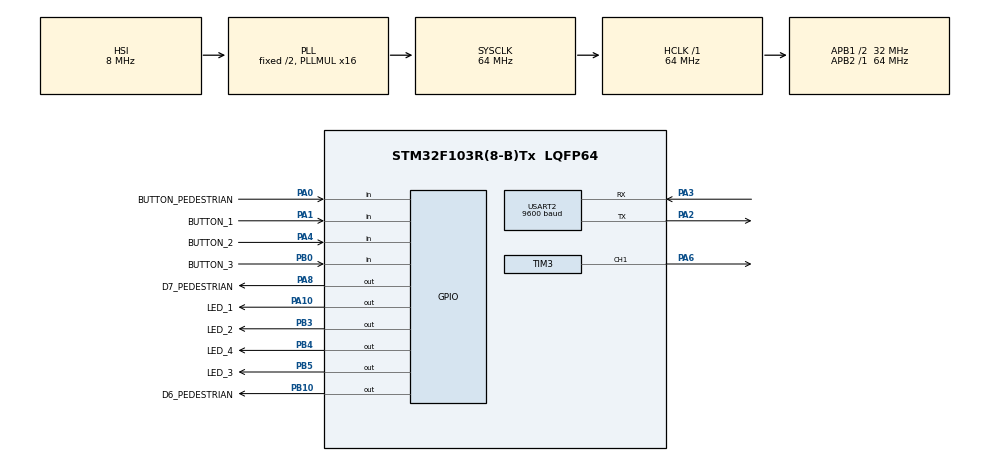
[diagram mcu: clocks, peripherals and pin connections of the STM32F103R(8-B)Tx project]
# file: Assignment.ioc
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Mcu.Family=STM32F1
Mcu.Name=STM32F103R(8-B)Tx
Mcu.Package=LQFP64
NVIC.PriorityGroup=NVIC_PRIORITYGROUP_4
NVIC.TIM2_IRQn=true\:0\:0\:false\:false\:true\:true\:true
NVIC.USART2_IRQn=true\:0\:0\:false\:false\:true\:true\:true
PA0-WKUP.GPIO_Label=BUTTON_PEDESTRIAN
PA0-WKUP.GPIO_PuPd=GPIO_PULLUP
PA0-WKUP.Signal=GPIO_Input
PA1.GPIO_Label=BUTTON_1
PA1.GPIO_PuPd=GPIO_PULLUP
PA1.Signal=GPIO_Input
PA10.GPIO_Label=LED_1
PA10.Signal=GPIO_Output
PA13.Mode=Serial_Wire
PA13.Signal=SYS_JTMS-SWDIO
PA14.Mode=Serial_Wire
PA14.Signal=SYS_JTCK-SWCLK
PA2.Mode=Asynchronous
PA2.Signal=USART2_TX
PA3.Mode=Asynchronous
PA3.Signal=USART2_RX
PA4.GPIO_Label=BUTTON_2
PA4.GPIO_PuPd=GPIO_PULLUP
PA4.Signal=GPIO_Input
PA6.Signal=S_TIM3_CH1
PA8.GPIO_Label=D7_PEDESTRIAN
PA8.Signal=GPIO_Output
PB0.GPIO_Label=BUTTON_3
PB0.GPIO_PuPd=GPIO_PULLUP
PB0.Signal=GPIO_Input
PB10.GPIO_Label=D6_PEDESTRIAN
PB10.GPIO_PuPd=GPIO_NOPULL
PB10.Signal=GPIO_Output
PB3.GPIO_Label=LED_2
PB3.Signal=GPIO_Output
PB4.GPIO_Label=LED_4
PB4.Signal=GPIO_Output
PB5.GPIO_Label=LED_3
PB5.Signal=GPIO_Output
ProjectManager.HeapSize=0x200
ProjectManager.StackSize=0x400
ProjectManager.TargetToolchain=STM32CubeIDE
RCC.AHBFreq_Value=64000000
RCC.APB1CLKDivider=RCC_HCLK_DIV2
RCC.APB1Freq_Value=32000000
RCC.APB1TimFreq_Value=64000000
RCC.APB2Freq_Value=64000000
RCC.APB2TimFreq_Value=64000000
RCC.HCLKFreq_Value=64000000
RCC.PLLMUL=RCC_PLL_MUL16
RCC.SYSCLKFreq_VALUE=64000000
RCC.SYSCLKSource=RCC_SYSCLKSOURCE_PLLCLK
RCC.USBFreq_Value=64000000
SH.S_TIM3_CH1.0=TIM3_CH1,PWM Generation1 CH1
TIM2.Period=79
TIM2.Prescaler=7999
TIM3.Channel-PWM\ Generation1\ CH1=TIM_CHANNEL_1
TIM3.Period=79
TIM3.Prescaler=79
USART2.BaudRate=9600
USART2.VirtualMode=VM_ASYNC
VP_TIM2_VS_ClockSourceINT.Mode=Internal
VP_TIM3_VS_ClockSourceINT.Mode=Internal
board=custom

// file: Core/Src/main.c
/* USER CODE BEGIN Header */
/**
  ******************************************************************************
  * @file           : main.c
  * @brief          : Main program body
  ******************************************************************************
  * @attention
  *
  * <h2><center>&copy; Copyright (c) 2023 STMicroelectronics.
  * All rights reserved.</center></h2>
  *
  * This software component is licensed by ST under BSD 3-Clause license,
  * the "License"; You may not use this file except in compliance with the
  * License. You may obtain a copy of the License at:
  *                        opensource.org/licenses/BSD-3-Clause
  *
  ******************************************************************************
  */
/* USER CODE END Header */
#include "main.h"

/* USER CODE BEGIN Includes */
#include "button.h"
#include "software_timer.h"
#include "fsm_automatic.h"
#include "fsm_manual.h"
#include "fsm_pedestrian.h"
#include "graphics.h"
/* USER CODE END Includes */

TIM_HandleTypeDef htim2;
TIM_HandleTypeDef htim3;

UART_HandleTypeDef huart2;

void SystemClock_Config(void);
static void MX_TIM2_Init(void);
static void MX_GPIO_Init(void);
static void MX_TIM3_Init(void);
static void MX_USART2_UART_Init(void);
/* USER CODE BEGIN PFP */
void fsm_run(){
	if (buffer_flag == 1) {
		buffer_flag = 0;
	}

	 fsm_pedestrian_run(huart2);
	 fsm_buzzer_run();

	if (status == AUTOMATIC_MODE)
		fsm_automatic_run(huart2);
	else if (status == MANUAL_MODE)
		fsm_manual_run(huart2);

	if (buffer_flag == 1) {
		buffer_flag = 0;
	}

	display7SegmentLight(huart2);
}
/* USER CODE END PFP */

/* USER CODE BEGIN 0 */
void HAL_UART_RxCpltCallback(UART_HandleTypeDef *huart) {
	if (huart->Instance == USART2) {
		buffer[index_buffer++] = temp;
		if (index_buffer == MAX_BUFFER_SIZE)
			index_buffer = 0;
		buffer_flag = 1;
		HAL_UART_Transmit(&huart2, &temp, 1, 50);
		HAL_UART_Receive_IT(&huart2, &temp, 1);
	}
}
/* USER CODE END 0 */

int main(void)
{

  /* MCU Configuration--------------------------------------------------------*/

  /* Reset of all peripherals, Initializes the Flash interface and the Systick. */
  HAL_Init();

  /* Configure the system clock */
  SystemClock_Config();

  /* Initialize all configured peripherals */
  MX_TIM2_Init();
  MX_GPIO_Init();
  MX_TIM3_Init();
  MX_USART2_UART_Init();
  /* USER CODE BEGIN 2 */
  HAL_TIM_Base_Start_IT(&htim2);
	HAL_UART_Receive_IT(&huart2, &temp, 1);
  HAL_TIM_PWM_Start(&htim3, TIM_CHANNEL_1);
  /* USER CODE END 2 */

  /* Infinite loop */
  /* USER CODE BEGIN WHILE */
  setTimer(0, 1000);
  setTimer(1, 1000);
  setTimer(2, 1000);
  setTimer(3, 1000);

	SCH_Add_Task(timerRun, 1, 1);
	SCH_Add_Task(getKeyInput, 1, 1);
	SCH_Add_Task(fsm_run,1, 1);
  while (1)
  {
    /* USER CODE END WHILE */

    /* USER CODE BEGIN 3 */
//    if (buffer_flag == 1) {
//			buffer_flag = 0;
//		}
//
//		 fsm_pedestrian_run();
//		 fsm_buzzer_run();
//
//		if (status == AUTOMATIC_MODE)
//			fsm_automatic_run(huart2);
//		else if (status == MANUAL_MODE)
//			fsm_manual_run(huart2);
//
//		if (buffer_flag == 1) {
//			buffer_flag = 0;
//		}
//
//		display7SegmentLight(huart2);
	  SCH_Dispatch_Tasks();

  }
  /* USER CODE END 3 */
}

void SystemClock_Config(void)
{
  RCC_OscInitTypeDef RCC_OscInitStruct = {0};
  RCC_ClkInitTypeDef RCC_ClkInitStruct = {0};

  /** Initializes the RCC Oscillators according to the specified parameters
  * in the RCC_OscInitTypeDef structure.
  */
  RCC_OscInitStruct.OscillatorType = RCC_OSCILLATORTYPE_HSI;
  RCC_OscInitStruct.HSIState = RCC_HSI_ON;
  RCC_OscInitStruct.HSICalibrationValue = RCC_HSICALIBRATION_DEFAULT;
  RCC_OscInitStruct.PLL.PLLState = RCC_PLL_ON;
  RCC_OscInitStruct.PLL.PLLSource = RCC_PLLSOURCE_HSI_DIV2;
  RCC_OscInitStruct.PLL.PLLMUL = RCC_PLL_MUL16;
  if (HAL_RCC_OscConfig(&RCC_OscInitStruct) != HAL_OK)
  {
    Error_Handler();
  }
  /** Initializes the CPU, AHB and APB buses clocks
  */
  RCC_ClkInitStruct.ClockType = RCC_CLOCKTYPE_HCLK|RCC_CLOCKTYPE_SYSCLK
                              |RCC_CLOCKTYPE_PCLK1|RCC_CLOCKTYPE_PCLK2;
  RCC_ClkInitStruct.SYSCLKSource = RCC_SYSCLKSOURCE_PLLCLK;
  RCC_ClkInitStruct.AHBCLKDivider = RCC_SYSCLK_DIV1;
  RCC_ClkInitStruct.APB1CLKDivider = RCC_HCLK_DIV2;
  RCC_ClkInitStruct.APB2CLKDivider = RCC_HCLK_DIV1;

  if (HAL_RCC_ClockConfig(&RCC_ClkInitStruct, FLASH_LATENCY_2) != HAL_OK)
  {
    Error_Handler();
  }
}

static void MX_TIM2_Init(void)
{

  TIM_ClockConfigTypeDef sClockSourceConfig = {0};
  TIM_MasterConfigTypeDef sMasterConfig = {0};

  htim2.Instance = TIM2;
  htim2.Init.Prescaler = 7999;
  htim2.Init.CounterMode = TIM_COUNTERMODE_UP;
  htim2.Init.Period = 79;
  htim2.Init.ClockDivision = TIM_CLOCKDIVISION_DIV1;
  htim2.Init.AutoReloadPreload = TIM_AUTORELOAD_PRELOAD_DISABLE;
  if (HAL_TIM_Base_Init(&htim2) != HAL_OK)
  {
    Error_Handler();
  }
  sClockSourceConfig.ClockSource = TIM_CLOCKSOURCE_INTERNAL;
  if (HAL_TIM_ConfigClockSource(&htim2, &sClockSourceConfig) != HAL_OK)
  {
    Error_Handler();
  }
  sMasterConfig.MasterOutputTrigger = TIM_TRGO_RESET;
  sMasterConfig.MasterSlaveMode = TIM_MASTERSLAVEMODE_DISABLE;
  if (HAL_TIMEx_MasterConfigSynchronization(&htim2, &sMasterConfig) != HAL_OK)
  {
    Error_Handler();
  }

}

static void MX_TIM3_Init(void)
{

  TIM_ClockConfigTypeDef sClockSourceConfig = {0};
  TIM_MasterConfigTypeDef sMasterConfig = {0};
  TIM_OC_InitTypeDef sConfigOC = {0};

  htim3.Instance = TIM3;
  htim3.Init.Prescaler = 79;
  htim3.Init.CounterMode = TIM_COUNTERMODE_UP;
  htim3.Init.Period = 79;
  htim3.Init.ClockDivision = TIM_CLOCKDIVISION_DIV1;
  htim3.Init.AutoReloadPreload = TIM_AUTORELOAD_PRELOAD_DISABLE;
  if (HAL_TIM_Base_Init(&htim3) != HAL_OK)
  {
    Error_Handler();
  }
  sClockSourceConfig.ClockSource = TIM_CLOCKSOURCE_INTERNAL;
  if (HAL_TIM_ConfigClockSource(&htim3, &sClockSourceConfig) != HAL_OK)
  {
    Error_Handler();
  }
  if (HAL_TIM_PWM_Init(&htim3) != HAL_OK)
  {
    Error_Handler();
  }
  sMasterConfig.MasterOutputTrigger = TIM_TRGO_RESET;
  sMasterConfig.MasterSlaveMode = TIM_MASTERSLAVEMODE_DISABLE;
  if (HAL_TIMEx_MasterConfigSynchronization(&htim3, &sMasterConfig) != HAL_OK)
  {
    Error_Handler();
  }
  sConfigOC.OCMode = TIM_OCMODE_PWM1;
  sConfigOC.Pulse = 0;
  sConfigOC.OCPolarity = TIM_OCPOLARITY_HIGH;
  sConfigOC.OCFastMode = TIM_OCFAST_DISABLE;
  if (HAL_TIM_PWM_ConfigChannel(&htim3, &sConfigOC, TIM_CHANNEL_1) != HAL_OK)
  {
    Error_Handler();
  }
  HAL_TIM_MspPostInit(&htim3);

}

static void MX_USART2_UART_Init(void)
{

  huart2.Instance = USART2;
  huart2.Init.BaudRate = 9600;
  huart2.Init.WordLength = UART_WORDLENGTH_8B;
  huart2.Init.StopBits = UART_STOPBITS_1;
  huart2.Init.Parity = UART_PARITY_NONE;
  huart2.Init.Mode = UART_MODE_TX_RX;
  huart2.Init.HwFlowCtl = UART_HWCONTROL_NONE;
  huart2.Init.OverSampling = UART_OVERSAMPLING_16;
  if (HAL_UART_Init(&huart2) != HAL_OK)
  {
    Error_Handler();
  }

}

static void MX_GPIO_Init(void)
{
  GPIO_InitTypeDef GPIO_InitStruct = {0};

  /* GPIO Ports Clock Enable */
  __HAL_RCC_GPIOA_CLK_ENABLE();
  __HAL_RCC_GPIOB_CLK_ENABLE();

  /*Configure GPIO pin Output Level */
  HAL_GPIO_WritePin(GPIOB, D6_PEDESTRIAN_Pin|LED_2_Pin|LED_4_Pin|LED_3_Pin, GPIO_PIN_RESET);

  /*Configure GPIO pin Output Level */
  HAL_GPIO_WritePin(GPIOA, D7_PEDESTRIAN_Pin|LED_1_Pin, GPIO_PIN_RESET);

  /*Configure GPIO pins : BUTTON_PEDESTRIAN_Pin BUTTON_1_Pin BUTTON_2_Pin */
  GPIO_InitStruct.Pin = BUTTON_PEDESTRIAN_Pin|BUTTON_1_Pin|BUTTON_2_Pin;
  GPIO_InitStruct.Mode = GPIO_MODE_INPUT;
  GPIO_InitStruct.Pull = GPIO_PULLUP;
  HAL_GPIO_Init(GPIOA, &GPIO_InitStruct);

  /*Configure GPIO pin : BUTTON_3_Pin */
  GPIO_InitStruct.Pin = BUTTON_3_Pin;
  GPIO_InitStruct.Mode = GPIO_MODE_INPUT;
  GPIO_InitStruct.Pull = GPIO_PULLUP;
  HAL_GPIO_Init(BUTTON_3_GPIO_Port, &GPIO_InitStruct);

  /*Configure GPIO pins : D6_PEDESTRIAN_Pin LED_2_Pin LED_4_Pin LED_3_Pin */
  GPIO_InitStruct.Pin = D6_PEDESTRIAN_Pin|LED_2_Pin|LED_4_Pin|LED_3_Pin;
  GPIO_InitStruct.Mode = GPIO_MODE_OUTPUT_PP;
  GPIO_InitStruct.Pull = GPIO_NOPULL;
  GPIO_InitStruct.Speed = GPIO_SPEED_FREQ_LOW;
  HAL_GPIO_Init(GPIOB, &GPIO_InitStruct);

  /*Configure GPIO pins : D7_PEDESTRIAN_Pin LED_1_Pin */
  GPIO_InitStruct.Pin = D7_PEDESTRIAN_Pin|LED_1_Pin;
  GPIO_InitStruct.Mode = GPIO_MODE_OUTPUT_PP;
  GPIO_InitStruct.Pull = GPIO_NOPULL;
  GPIO_InitStruct.Speed = GPIO_SPEED_FREQ_LOW;
  HAL_GPIO_Init(GPIOA, &GPIO_InitStruct);

}

/* USER CODE BEGIN 4 */
void HAL_TIM_PeriodElapsedCallback(TIM_HandleTypeDef *htim) {
//  timerRun();
//  getKeyInput();
	SCH_Update();
}
/* USER CODE END 4 */

void Error_Handler(void)
{
  __disable_irq();
  while (1)
  {
  }
}

/************************ (C) COPYRIGHT STMicroelectronics *****END OF FILE****/
